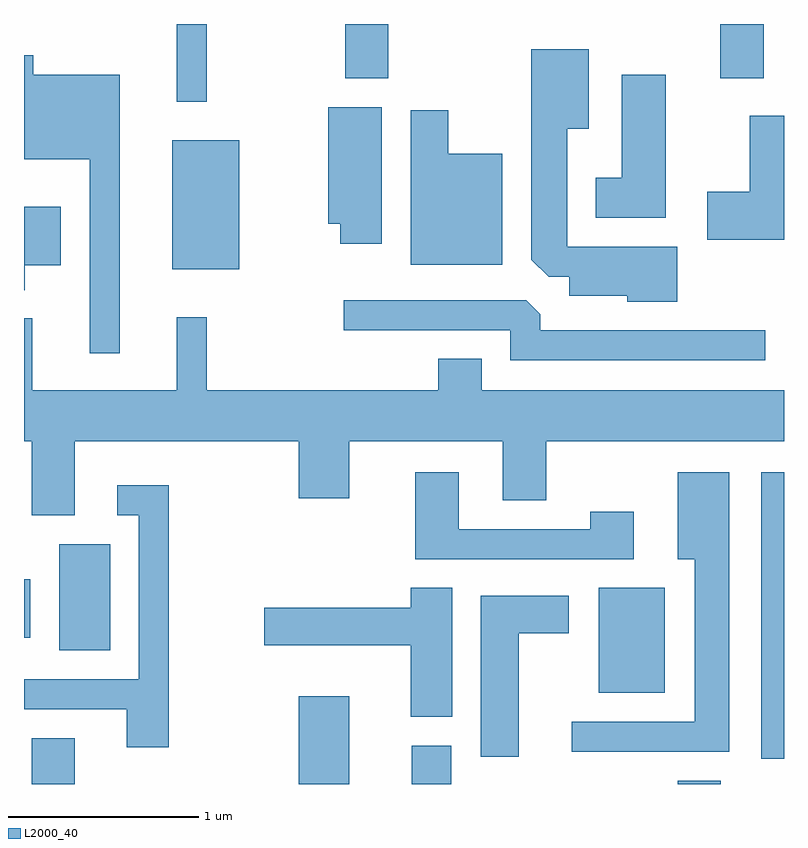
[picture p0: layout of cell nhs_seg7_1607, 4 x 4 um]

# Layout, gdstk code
import gdstk
lib = gdstk.Library(unit=1e-6, precision=1e-09)
def R(c, l, rs):  # rectangles x0, y0, x1, y1
    for r in rs: c.add(gdstk.rectangle(r[:2], r[2:], *l))
def P(c, l, *ps):  # polygons
    for p in ps: c.add(gdstk.Polygon(p, *l))
L2000_40 = (2000, 40)

nhs_seg7_1607 = lib.new_cell('nhs_seg7_1607')
R(nhs_seg7_1607, L2000_40, [(233.651,1750.252,233.879,1750.494), (235.056,1750.252,235.324,1750.714), (235.651,1750.252,235.859,1750.454), (237.051,1750.252,237.279,1750.269), (237.491,1750.386,237.611,1751.894), (236.636,1750.731,236.984,1751.284), (233.796,1750.956,234.064,1751.514), (233.611,1751.021,233.644,1751.329), (234.391,1752.961,234.744,1753.639), (234.416,1753.843,234.574,1754.252), (235.301,1753.966,235.529,1754.252), (237.276,1753.966,237.504,1754.252)])
P(nhs_seg7_1607, L2000_40, [(237.049,1753.079),(236.469,1753.079),(236.469,1753.701),(236.584,1753.701),(236.584,1754.119),(236.281,1754.119),(236.281,1753.012),(236.372,1752.921),(236.481,1752.921),(236.481,1752.821),(236.786,1752.821),(236.786,1752.791),(237.049,1752.791)],
  [(234.114,1753.984),(233.659,1753.984),(233.659,1754.088),(233.611,1754.088),(233.611,1753.541),(233.956,1753.541),(233.956,1752.518),(234.114,1752.518)],
  [(236.989,1753.984),(236.756,1753.984),(236.756,1753.444),(236.621,1753.444),(236.621,1753.231),(236.989,1753.231)],
  [(235.494,1753.814),(235.211,1753.814),(235.211,1753.201),(235.276,1753.201),(235.276,1753.096),(235.494,1753.096)],
  [(236.129,1753.569),(235.844,1753.569),(235.844,1753.799),(235.646,1753.799),(235.646,1752.986),(236.129,1752.986)],
  [(237.611,1753.769),(237.431,1753.769),(237.431,1753.369),(237.206,1753.369),(237.206,1753.116),(237.611,1753.116)],
  [(233.614,1752.981),(233.804,1752.981),(233.804,1753.289),(233.611,1753.289),(233.611,1752.851),(233.614,1752.851)],
  [(237.513,1752.639),(236.329,1752.639),(236.329,1752.724),(236.254,1752.799),(235.293,1752.799),(235.293,1752.641),(236.171,1752.641),(236.171,1752.481),(237.513,1752.481)],
  [(233.879,1752.056),(235.056,1752.056),(235.056,1751.756),(235.324,1751.756),(235.324,1752.056),(236.131,1752.056),(236.131,1751.746),(236.359,1751.746),(236.359,1752.056),(237.611,1752.056),(237.611,1752.324),(236.019,1752.324),(236.019,1752.489),(235.791,1752.489),(235.791,1752.324),(234.574,1752.324),(234.574,1752.708),(234.416,1752.708),(234.416,1752.324),(233.654,1752.324),(233.654,1752.703),(233.611,1752.703),(233.611,1752.056),(233.651,1752.056),(233.651,1751.666),(233.879,1751.666)],
  [(237.324,1751.894),(237.051,1751.894),(237.051,1751.436),(237.141,1751.436),(237.141,1750.579),(236.493,1750.579),(236.493,1750.421),(237.324,1750.421)],
  [(236.819,1751.684),(236.591,1751.684),(236.591,1751.594),(235.899,1751.594),(235.899,1751.894),(235.671,1751.894),(235.671,1751.436),(236.819,1751.436)],
  [(234.374,1751.824),(234.103,1751.824),(234.103,1751.666),(234.216,1751.666),(234.216,1750.804),(233.611,1750.804),(233.611,1750.646),(234.151,1750.646),(234.151,1750.446),(234.374,1750.446)],
  [(235.864,1751.284),(235.646,1751.284),(235.646,1751.179),(234.876,1751.179),(234.876,1750.981),(235.646,1750.981),(235.646,1750.606),(235.864,1750.606)],
  [(236.214,1751.046),(236.479,1751.046),(236.479,1751.244),(236.016,1751.244),(236.016,1750.396),(236.214,1750.396)])

lib.write_gds('nhs_seg7_1607.gds')
